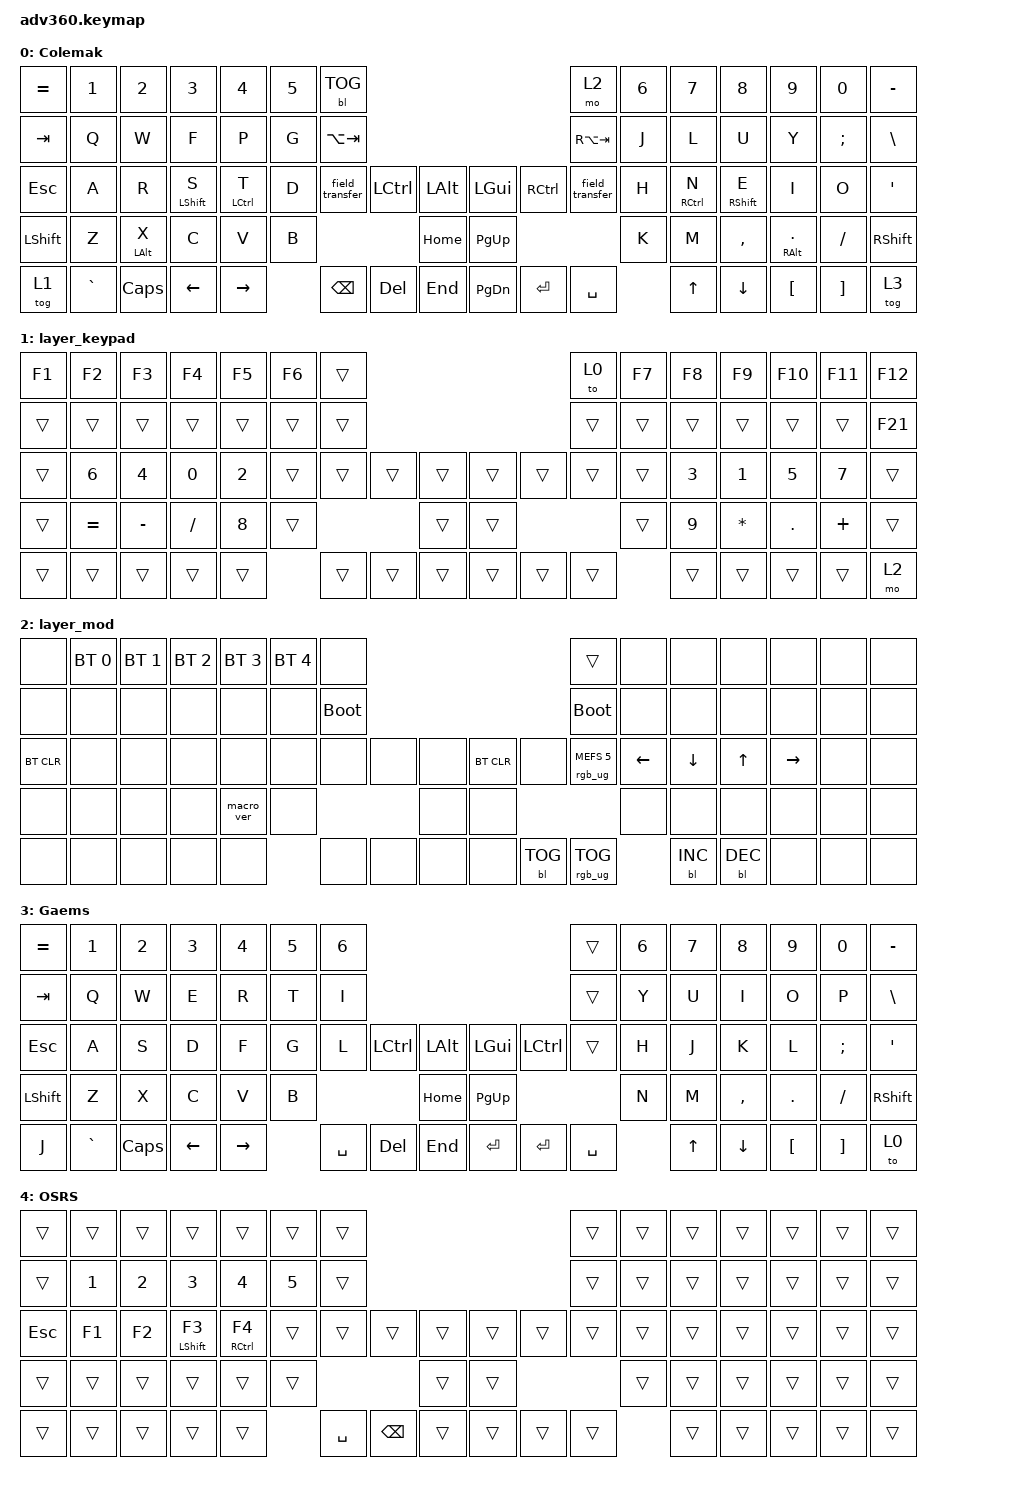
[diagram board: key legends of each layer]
/*
 * Copyright (c) 2020 The ZMK Contributors
 *
 * SPDX-License-Identifier: MIT
 */
/* THIS FILE WAS GENERATED!
 *
 * This file was generated automatically. You may or may not want to
 * edit it directly.
 */

#include <behaviors.dtsi>
#include <dt-bindings/zmk/backlight.h>
#include <dt-bindings/zmk/bt.h>
#include <dt-bindings/zmk/keys.h>
#include <dt-bindings/zmk/rgb.h>

/ {
    behaviors {
        #include "macros.dtsi"
    #include "version.dtsi"

        hm: homerow_mods {
            compatible = "zmk,behavior-hold-tap";
            label = "HOMEROW_MODS";
            #binding-cells = <2>;
            tapping-term-ms = <150>;
            flavor = "tap-preferred";
            bindings = <&kp>, <&kp>;
        };
    };

    combos {
        compatible = "zmk,combos";

        HR-R_Tab {
            bindings = <&kp TAB>;
            key-positions = <31 30>;
            layers = <1 0>;
        };

        num_layer {
            bindings = <&to 1>;
            key-positions = <32 31>;
            layers = <0>;
        };

        nav_layer {
            bindings = <&mo 2>;
            key-positions = <30 32>;
            layers = <0>;
        };

        default_layer {
            bindings = <&to 0>;
            key-positions = <31 32>;
            layers = <1 2>;
        };

        to_osrs {
            bindings = <&tog 4>;
            key-positions = <32 31 30>;
            layers = <3>;
        };

        HR-L_Tab {
            bindings = <&kp TAB>;
            key-positions = <42 43>;
            layers = <1 0>;
        };
    };

    macros {
        go_new_var: go_new_var {
            compatible = "zmk,behavior-macro";
            #binding-cells = <0>;
            bindings = <&kp COLON &kp EQUAL>;
            label = "GO_NEW_VAR";
        };

        bracket_block: new_macro {
            compatible = "zmk,behavior-macro";
            #binding-cells = <0>;
            bindings = <&kp LEFT_BRACKET &kp RIGHT_BRACKET &kp LEFT>;
            label = "NEW_MACRO";
        };

        brace_block: brace_block {
            compatible = "zmk,behavior-macro";
            #binding-cells = <0>;
            bindings = <&kp LEFT_BRACE &kp RBRC &kp LEFT>;
            label = "BRACE_BLOCK";
        };

        parenth_block: parenth_block {
            compatible = "zmk,behavior-macro";
            #binding-cells = <0>;
            bindings = <&kp LEFT_PARENTHESIS &kp RIGHT_PARENTHESIS &kp LEFT>;
            label = "PARENTH_BLOCK";
        };

        field_transfer: field_transfer {
            compatible = "zmk,behavior-macro";
            #binding-cells = <0>;
            bindings = <&kp LC(C) &kp UP_ARROW &kp LC(V) &kp RIGHT &kp DOWN_ARROW>;
            label = "FIELD_TRANSFER";
            wait-ms = <15>;
            tap-ms = <15>;
        };
    };

    keymap {
        compatible = "zmk,keymap";

        Colemak {
            bindings = <
&kp EQUAL       &kp NUMBER_1  &kp NUMBER_2    &kp NUMBER_3      &kp NUMBER_4        &kp NUMBER_5  &bl BL_TOG                                                          &mo 2            &kp NUMBER_6  &kp NUMBER_7         &kp NUMBER_8       &kp NUMBER_9          &kp NUMBER_0  &kp MINUS
&kp TAB         &kp Q         &kp W           &kp F             &kp P               &kp G         &kp LA(TAB)                                                         &kp RA(TAB)      &kp J         &kp L                &kp U              &kp Y                 &kp SEMI      &kp BSLH
&kp ESCAPE      &kp A         &kp R           &hm LEFT_SHIFT S  &hm LEFT_CONTROL T  &kp D         &field_transfer  &kp LCTRL  &kp LEFT_ALT      &kp LGUI   &kp RCTRL  &field_transfer  &kp H         &hm RIGHT_CONTROL N  &hm RIGHT_SHIFT E  &kp I                 &kp O         &kp APOS
&kp LEFT_SHIFT  &kp Z         &hm LEFT_ALT X  &kp C             &kp V               &kp B                                     &kp HOME          &kp PG_UP                              &kp K         &kp M                &kp COMMA          &hm RIGHT_ALT PERIOD  &kp FSLH      &kp RSHIFT
&tog 1          &kp GRAVE     &kp CAPSLOCK    &kp LEFT_ARROW    &kp RIGHT_ARROW                   &kp BACKSPACE    &kp DEL    &kp END           &kp PG_DN  &kp ENTER  &kp SPACE                      &kp UP               &kp DOWN           &kp LBKT              &kp RBKT      &tog 3
            >;
        };

        layer_keypad {
            bindings = <
&kp F1  &kp F2        &kp F3        &kp F4        &kp F5        &kp F6  &trans                                      &to 0   &kp F7  &kp F8        &kp F9        &kp F10       &kp F11       &kp F12
&trans  &trans        &trans        &trans        &trans        &trans  &trans                                      &trans  &trans  &trans        &trans        &trans        &trans        &kp F21
&trans  &kp NUMBER_6  &kp NUMBER_4  &kp NUMBER_0  &kp NUMBER_2  &trans  &trans  &trans  &trans      &trans  &trans  &trans  &trans  &kp NUMBER_3  &kp NUMBER_1  &kp NUMBER_5  &kp NUMBER_7  &trans
&trans  &kp EQUAL     &kp MINUS     &kp SLASH     &kp NUMBER_8  &trans                  &trans      &trans                  &trans  &kp NUMBER_9  &kp ASTERISK  &kp PERIOD    &kp PLUS      &trans
&trans  &trans        &trans        &trans        &trans                &trans  &trans  &trans      &trans  &trans  &trans          &trans        &trans        &trans        &trans        &mo 2
            >;
        };

        layer_mod {
            bindings = <
&none       &bt BT_SEL 0  &bt BT_SEL 1  &bt BT_SEL 2  &bt BT_SEL 3  &bt BT_SEL 4  &none                                                  &trans                  &none           &none           &none         &none      &none  &none
&none       &none         &none         &none         &none         &none         &bootloader                                            &bootloader             &none           &none           &none         &none      &none  &none
&bt BT_CLR  &none         &none         &none         &none         &none         &none        &none  &none      &bt BT_CLR  &none       &rgb_ug RGB_MEFS_CMD 5  &kp LEFT_ARROW  &kp DOWN_ARROW  &kp UP_ARROW  &kp RIGHT  &none  &none
&none       &none         &none         &none         &macro_ver    &none                             &none      &none                                           &none           &none           &none         &none      &none  &none
&none       &none         &none         &none         &none                       &none        &none  &none      &none       &bl BL_TOG  &rgb_ug RGB_TOG                         &bl BL_INC      &bl BL_DEC    &none      &none  &none
            >;
        };

        Gaems {
            bindings = <
&kp EQUAL  &kp N1     &kp N2    &kp N3    &kp N4     &kp N5  &kp N6                                                    &trans     &kp N6  &kp N7  &kp N8     &kp N9    &kp N0    &kp MINUS
&kp TAB    &kp Q      &kp W     &kp E     &kp R      &kp T   &kp I                                                     &trans     &kp Y   &kp U   &kp I      &kp O     &kp P     &kp BSLH
&kp ESC    &kp A      &kp S     &kp D     &kp F      &kp G   &kp L      &kp LCTRL  &kp LALT      &kp LGUI   &kp LCTRL  &trans     &kp H   &kp J   &kp K      &kp L     &kp SEMI  &kp SQT
&kp LSHFT  &kp Z      &kp X     &kp C     &kp V      &kp B                         &kp HOME      &kp PG_UP                        &kp N   &kp M   &kp COMMA  &kp DOT   &kp FSLH  &kp RSHFT
&kp J      &kp GRAVE  &kp CAPS  &kp LEFT  &kp RIGHT          &kp SPACE  &kp DEL    &kp END       &kp RET    &kp RET    &kp SPACE          &kp UP  &kp DOWN   &kp LBKT  &kp RBKT  &to 0
            >;
        };

        OSRS {
            bindings = <
&trans      &trans        &trans        &trans         &trans        &trans  &trans                                                &trans  &trans  &trans  &trans  &trans  &trans  &trans
&trans      &kp NUMBER_1  &kp NUMBER_2  &kp NUMBER_3   &kp NUMBER_4  &kp N5  &trans                                                &trans  &trans  &trans  &trans  &trans  &trans  &trans
&kp ESCAPE  &kp F1        &kp F2        &hm LSHIFT F3  &hm RCTRL F4  &trans  &trans     &trans         &trans      &trans  &trans  &trans  &trans  &trans  &trans  &trans  &trans  &trans
&trans      &trans        &trans        &trans         &trans        &trans                            &trans      &trans                  &trans  &trans  &trans  &trans  &trans  &trans
&trans      &trans        &trans        &trans         &trans                &kp SPACE  &kp BACKSPACE  &trans      &trans  &trans  &trans          &trans  &trans  &trans  &trans  &trans
            >;
        };
    };
};
